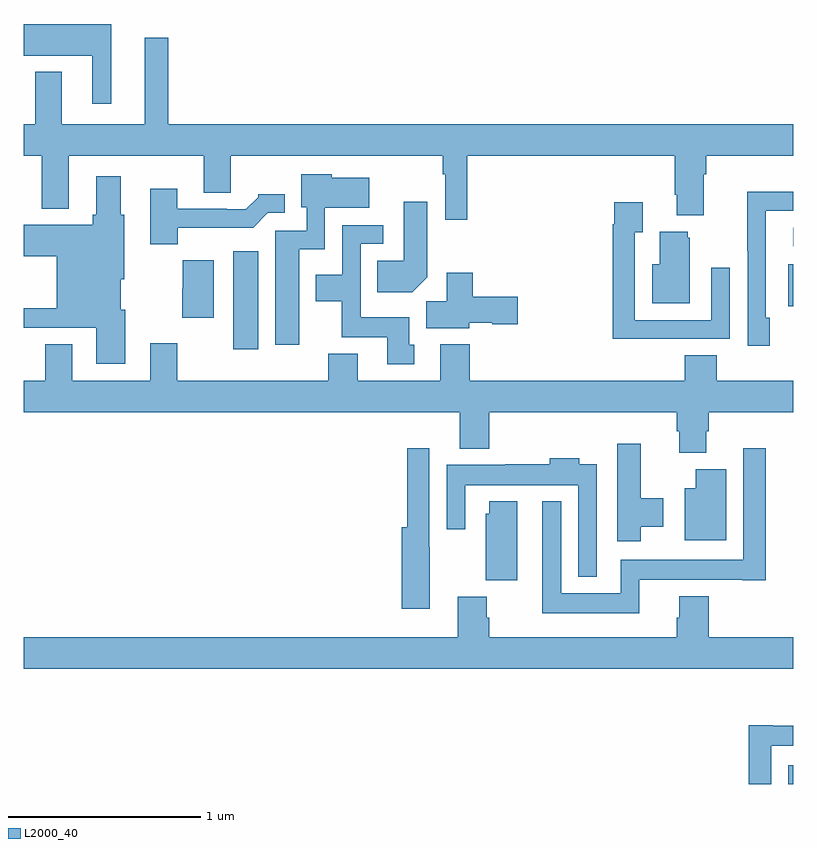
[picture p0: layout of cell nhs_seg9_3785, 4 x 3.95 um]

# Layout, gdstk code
import gdstk
lib = gdstk.Library(unit=1e-6, precision=1e-09)
def R(c, l, rs):  # rectangles x0, y0, x1, y1
    for r in rs: c.add(gdstk.rectangle(r[:2], r[2:], *l))
def P(c, l, *ps):  # polygons
    for p in ps: c.add(gdstk.Polygon(p, *l))
L2000_40 = (2000, 40)

nhs_seg9_3785 = lib.new_cell('nhs_seg9_3785')
R(nhs_seg9_3785, L2000_40, [(330.974,1182.5,331,1182.598), (328.088,1184.76,328.219,1185.268), (330.974,1184.983,331,1185.202), (330.999,1185.294,331,1185.39)])
P(nhs_seg9_3785, L2000_40, [(327.454,1186.45),(327,1186.45),(327,1186.286),(327.356,1186.286),(327.356,1186.035),(327.454,1186.035)],
  [(327.751,1186.378),(327.629,1186.378),(327.629,1185.928),(327.199,1185.928),(327.199,1186.201),(327.059,1186.201),(327.059,1185.928),(327,1185.928),(327,1185.764),(327.095,1185.764),(327.095,1185.491),(327.235,1185.491),(327.235,1185.764),(327.935,1185.764),(327.935,1185.574),(328.075,1185.574),(328.075,1185.764),(329.178,1185.764),(329.178,1185.668),(329.19,1185.668),(329.19,1185.432),(329.306,1185.432),(329.306,1185.764),(330.383,1185.764),(330.383,1185.562),(330.395,1185.562),(330.395,1185.455),(330.535,1185.455),(330.535,1185.668),(330.548,1185.668),(330.548,1185.764),(331,1185.764),(331,1185.928),(327.751,1185.928)],
  [(328.432,1185.278),(328.566,1185.278),(328.566,1185.494),(328.795,1185.494),(328.795,1185.652),(328.602,1185.652),(328.602,1185.67),(328.442,1185.67),(328.442,1185.498),(328.47,1185.498),(328.47,1185.375),(328.307,1185.375),(328.307,1184.784),(328.432,1184.784)],
  [(327.529,1184.964),(327.505,1184.964),(327.505,1185.123),(327.523,1185.123),(327.523,1185.459),(327.505,1185.459),(327.505,1185.658),(327.377,1185.658),(327.377,1185.459),(327.358,1185.459),(327.358,1185.406),(327,1185.406),(327,1185.242),(327.173,1185.242),(327.173,1184.972),(327,1184.972),(327,1184.871),(327.377,1184.871),(327.377,1184.685),(327.529,1184.685)],
  [(327.802,1185.392),(328.193,1185.392),(328.269,1185.468),(328.357,1185.468),(328.357,1185.565),(328.218,1185.565),(328.218,1185.55),(328.154,1185.486),(328.055,1185.486),(328.055,1185.489),(327.799,1185.489),(327.799,1185.595),(327.659,1185.595),(327.659,1185.305),(327.802,1185.305)],
  [(330.877,1184.922),(330.858,1184.922),(330.858,1185.48),(331,1185.48),(331,1185.578),(330.76,1185.578),(330.76,1185.271),(330.762,1185.271),(330.762,1184.778),(330.877,1184.778)],
  [(329.098,1185.134),(329.098,1185.526),(328.976,1185.526),(328.976,1185.22),(328.837,1185.22),(328.837,1185.056),(329.02,1185.056)],
  [(330.353,1184.814),(330.669,1184.814),(330.669,1185.184),(330.573,1185.184),(330.573,1184.91),(330.177,1184.91),(330.177,1185.367),(330.217,1185.367),(330.217,1185.523),(330.069,1185.523),(330.069,1185.41),(330.061,1185.41),(330.061,1184.813),(330.353,1184.813)],
  [(329.029,1184.784),(329.005,1184.784),(329.005,1184.926),(328.752,1184.926),(328.752,1185.309),(328.87,1185.309),(328.87,1185.405),(328.656,1185.405),(328.656,1185.148),(328.517,1185.148),(328.517,1185.008),(328.654,1185.008),(328.654,1184.822),(328.889,1184.822),(328.889,1184.682),(329.029,1184.682)],
  [(330.463,1185.339),(330.452,1185.339),(330.452,1185.37),(330.305,1185.37),(330.305,1185.202),(330.266,1185.202),(330.266,1184.999),(330.463,1184.999)],
  [(327.988,1185.223),(327.826,1185.223),(327.826,1185.075),(327.824,1185.075),(327.824,1184.922),(327.988,1184.922)],
  [(329.316,1184.897),(329.436,1184.897),(329.436,1184.89),(329.569,1184.89),(329.569,1185.032),(329.333,1185.032),(329.333,1185.157),(329.198,1185.157),(329.198,1185.008),(329.093,1185.008),(329.093,1184.87),(329.316,1184.87)],
  [(329.267,1184.243),(329.42,1184.243),(329.42,1184.432),(330.395,1184.432),(330.395,1184.334),(330.407,1184.334),(330.407,1184.222),(330.547,1184.222),(330.547,1184.334),(330.56,1184.334),(330.56,1184.432),(331,1184.432),(331,1184.596),(330.602,1184.596),(330.602,1184.729),(330.437,1184.729),(330.437,1184.596),(329.318,1184.596),(329.318,1184.785),(329.165,1184.785),(329.165,1184.596),(328.735,1184.596),(328.735,1184.737),(328.583,1184.737),(328.583,1184.596),(327.799,1184.596),(327.799,1184.791),(327.659,1184.791),(327.659,1184.596),(327.253,1184.596),(327.253,1184.786),(327.113,1184.786),(327.113,1184.596),(327,1184.596),(327,1184.432),(329.267,1184.432)],
  [(330.208,1183.838),(330.325,1183.838),(330.325,1183.986),(330.208,1183.986),(330.208,1184.269),(330.086,1184.269),(330.086,1183.761),(330.208,1183.761)],
  [(330.2,1183.562),(330.734,1183.562),(330.734,1183.56),(330.857,1183.56),(330.857,1184.245),(330.741,1184.245),(330.741,1183.666),(330.102,1183.666),(330.102,1183.492),(329.793,1183.492),(329.793,1183.969),(329.696,1183.969),(329.696,1183.388),(330.2,1183.388)],
  [(329.11,1183.73),(329.109,1183.73),(329.109,1184.245),(328.993,1184.245),(328.993,1183.834),(328.964,1183.834),(328.964,1183.41),(329.11,1183.41)],
  [(329.979,1184.161),(329.887,1184.161),(329.887,1184.194),(329.735,1184.194),(329.735,1184.161),(329.503,1184.161),(329.503,1184.158),(329.199,1184.158),(329.199,1183.824),(329.295,1183.824),(329.295,1184.054),(329.883,1184.054),(329.883,1183.577),(329.979,1183.577)],
  [(330.652,1184.137),(330.494,1184.137),(330.494,1184.038),(330.437,1184.038),(330.437,1183.766),(330.652,1183.766)],
  [(329.566,1183.969),(329.42,1183.969),(329.42,1183.905),(329.402,1183.905),(329.402,1183.558),(329.566,1183.558)],
  [(331,1183.264),(330.56,1183.264),(330.56,1183.477),(330.407,1183.477),(330.407,1183.365),(330.395,1183.365),(330.395,1183.264),(329.42,1183.264),(329.42,1183.364),(329.407,1183.364),(329.407,1183.473),(329.255,1183.473),(329.255,1183.264),(327,1183.264),(327,1183.1),(331,1183.1)],
  [(330.885,1182.698),(331,1182.698),(331,1182.802),(330.892,1182.802),(330.892,1182.805),(330.769,1182.805),(330.769,1182.5),(330.885,1182.5)])

lib.write_gds('nhs_seg9_3785.gds')
